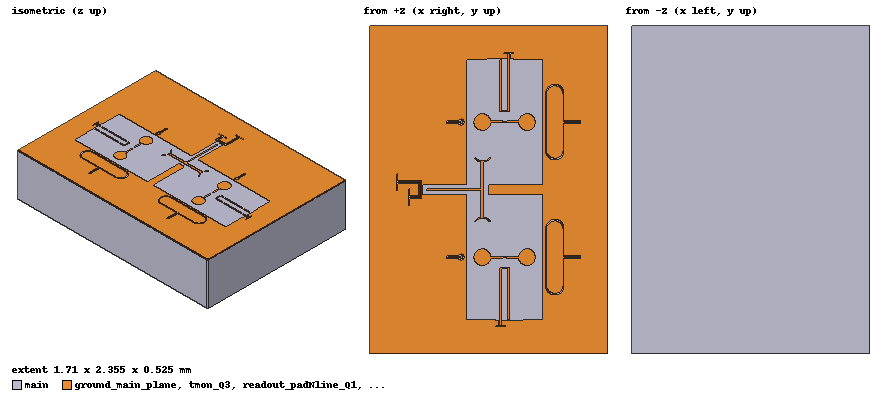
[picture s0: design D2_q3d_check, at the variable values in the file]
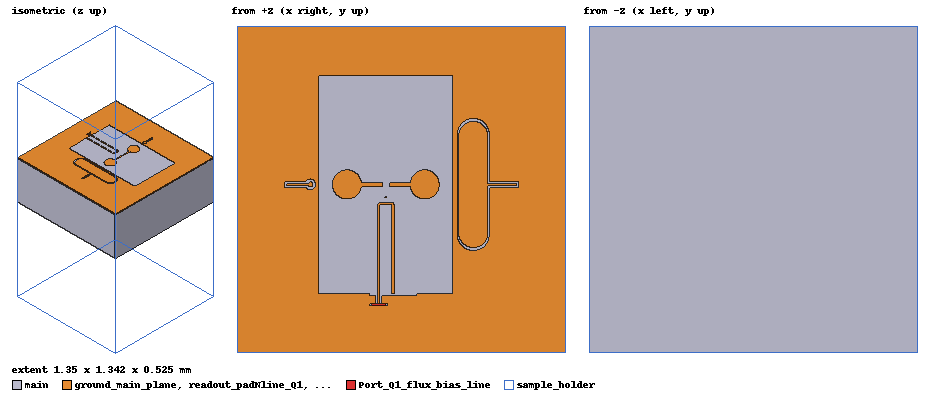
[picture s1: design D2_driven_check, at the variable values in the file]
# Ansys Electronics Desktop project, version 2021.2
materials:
  vacuum: permittivity=1
  copper: permeability=0.999991 conductivity=58000000
  silicon: permittivity=11.9
  pec: conductivity=1e+30

design D2_q3d_check (Q3D Extractor, model units mm)
options: SParamCalcMethod=EqTransLine Calculate_Lossy_Dielectrics
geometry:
  pad_top_Q1 [copper] = polyline(z=0, xy: (-0.002299, -0.002271) (-0.002299, -0.002269) (-0.002285, -0.002269) (-0.002285, -0.0022625) (-0.0021994709, -0.0022625) (-0.0021988471, -0.0022582946) (-0.0021974164, -0.0022525829) (-0.0021954328, -0.002247039) (-0.0021929153, -0.0022417162) (-0.0021898882, -0.0022366658) (-0.0021863806, -0.0022319364) (-0.0021824264, -0.0022275736) (-0.0021780636, -0.0022236194) (-0.0021733342, -0.0022201118) (-0.0021682838, -0.0022170847) (-0.002162961, -0.0022145672) (-0.0021574171, -0.0022125836) (-0.0021517054, -0.0022111529) (-0.002145881, -0.0022102889) (-0.00214, -0.00221) (-0.002134119, -0.0022102889) (-0.0021282946, -0.0022111529) (-0.0021225829, -0.0022125836) (-0.002117039, -0.0022145672) (-0.0021117162, -0.0022170847) (-0.0021066658, -0.0022201118) (-0.0021019364, -0.0022236194) (-0.0020975736, -0.0022275736) (-0.0020936194, -0.0022319364) (-0.0020901118, -0.0022366658) (-0.0020870847, -0.0022417162) (-0.0020845672, -0.002247039) (-0.0020825836, -0.0022525829) (-0.0020811529, -0.0022582946) (-0.0020802889, -0.002264119) (-0.00208, -0.00227) (-0.0020802889, -0.002275881) (-0.0020811529, -0.0022817054) (-0.0020825836, -0.0022874171) (-0.0020845672, -0.002292961) (-0.0020870847, -0.0022982838) (-0.0020901118, -0.0023033342) (-0.0020936194, -0.0023080636) (-0.0020975736, -0.0023124264) (-0.0021019364, -0.0023163806) (-0.0021066658, -0.0023198882) (-0.0021117162, -0.0023229153) (-0.002117039, -0.0023254328) (-0.0021225829, -0.0023274164) (-0.0021282946, -0.0023288471) (-0.002134119, -0.0023297111) (-0.00214, -0.00233) (-0.002145881, -0.0023297111) (-0.0021517054, -0.0023288471) (-0.0021574171, -0.0023274164) (-0.002162961, -0.0023254328) (-0.0021682838, -0.0023229153) (-0.0021733342, -0.0023198882) (-0.0021780636, -0.0023163806) (-0.0021824264, -0.0023124264) (-0.0021863806, -0.0023080636) (-0.0021898882, -0.0023033342) (-0.0021929153, -0.0022982838) (-0.0021954328, -0.002292961) (-0.0021974164, -0.0022874171) (-0.0021988471, -0.0022817054) (-0.0021994709, -0.0022775) (-0.002285, -0.0022775) (-0.002285, -0.002271) (-0.002299, -0.002271), closed, covered)
  pad_bot_Q1 [copper] = polyline(z=0, xy: (-0.002465881, -0.0023297111) (-0.0024717054, -0.0023288471) (-0.0024774171, -0.0023274164) (-0.002482961, -0.0023254328) (-0.0024882838, -0.0023229153) (-0.0024933342, -0.0023198882) (-0.0024980636, -0.0023163806) (-0.0025024264, -0.0023124264) (-0.0025063806, -0.0023080636) (-0.0025098882, -0.0023033342) (-0.0025129153, -0.0022982838) (-0.0025154328, -0.002292961) (-0.0025174164, -0.0022874171) (-0.0025188471, -0.0022817054) (-0.0025197111, -0.002275881) (-0.00252, -0.00227) (-0.0025197111, -0.002264119) (-0.0025188471, -0.0022582946) (-0.0025174164, -0.0022525829) (-0.0025154328, -0.002247039) (-0.0025129153, -0.0022417162) (-0.0025098882, -0.0022366658) (-0.0025063806, -0.0022319364) (-0.0025024264, -0.0022275736) (-0.0024980636, -0.0022236194) (-0.0024933342, -0.0022201118) (-0.0024882838, -0.0022170847) (-0.002482961, -0.0022145672) (-0.0024774171, -0.0022125836) (-0.0024717054, -0.0022111529) (-0.002465881, -0.0022102889) (-0.00246, -0.00221) (-0.002454119, -0.0022102889) (-0.0024482946, -0.0022111529) (-0.0024425829, -0.0022125836) (-0.002437039, -0.0022145672) (-0.0024317162, -0.0022170847) (-0.0024266658, -0.0022201118) (-0.0024219364, -0.0022236194) (-0.0024175736, -0.0022275736) (-0.0024136194, -0.0022319364) (-0.0024101118, -0.0022366658) (-0.0024070847, -0.0022417162) (-0.0024045672, -0.002247039) (-0.0024025836, -0.0022525829) (-0.0024011529, -0.0022582946) (-0.0024005291, -0.0022625) (-0.002315, -0.0022625) (-0.002315, -0.002269) (-0.002301, -0.002269) (-0.002301, -0.002271) (-0.002315, -0.002271) (-0.002315, -0.0022775) (-0.0024005291, -0.0022775) (-0.0024011529, -0.0022817054) (-0.0024025836, -0.0022874171) (-0.0024045672, -0.002292961) (-0.0024070847, -0.0022982838) (-0.0024101118, -0.0023033342) (-0.0024136194, -0.0023080636) (-0.0024175736, -0.0023124264) (-0.0024219364, -0.0023163806) (-0.0024266658, -0.0023198882) (-0.0024317162, -0.0023229153) (-0.002437039, -0.0023254328) (-0.0024425829, -0.0023274164) (-0.0024482946, -0.0023288471) (-0.002454119, -0.0023297111) (-0.00246, -0.00233) (-0.002465881, -0.0023297111), closed, covered)
  rect_pk_Q1 = rectangle(corner=(-0.002575, -0.00272, 0), x_size=0.00055, y_size=0.0009)
  array_end_Q1 [copper] = rectangle(corner=(-0.002305, -0.002324, 0), x_size=1e-05, y_size=2e-06)
  flux_bias_line_Q1 [copper] = polyline(z=0, xy: (-0.0023348079, -0.0023530491) (-0.0023345694, -0.0023520972) (-0.0023342388, -0.0023511732) (-0.0023338192, -0.002350286) (-0.0023333147, -0.0023494443) (-0.0023327301, -0.0023486561) (-0.0023320711, -0.0023479289) (-0.0023313439, -0.0023472699) (-0.0023305557, -0.0023466853) (-0.002329714, -0.0023461808) (-0.0023288268, -0.0023457612) (-0.0023279028, -0.0023454306) (-0.0023269509, -0.0023451921) (-0.0023259802, -0.0023450482) (-0.002325, -0.002345) (-0.002275, -0.002345) (-0.0022740198, -0.0023450482) (-0.0022730491, -0.0023451921) (-0.0022720972, -0.0023454306) (-0.0022711732, -0.0023457612) (-0.002270286, -0.0023461808) (-0.0022694443, -0.0023466853) (-0.0022686561, -0.0023472699) (-0.0022679289, -0.0023479289) (-0.0022672699, -0.0023486561) (-0.0022666853, -0.0023494443) (-0.0022661808, -0.002350286) (-0.0022657612, -0.0023511732) (-0.0022654306, -0.0023520972) (-0.0022651921, -0.0023530491) (-0.0022650482, -0.0023540198) (-0.002265, -0.002355) (-0.002265, -0.00272) (-0.002275, -0.00272) (-0.002275, -0.002355) (-0.002325, -0.002355) (-0.002325, -0.002365) (-0.002325, -0.0027625) (-0.002335, -0.0027625) (-0.002335, -0.002355) (-0.0023349518, -0.0023540198) (-0.0023348079, -0.0023530491), closed, covered)
  flux_bias_line_gap_Q1 = rectangle(corner=(-0.002341, -0.0027625, 0), x_size=2.2e-05, y_size=4.25e-05)
  charge_line_Q1 [copper] = polyline(z=0, xy: (-0.00271, -0.002265) (-0.00271, -0.002275) (-0.0026186478, -0.002275) (-0.0026183147, -0.0022755557) (-0.0026177301, -0.0022763439) (-0.0026170711, -0.0022770711) (-0.0026163439, -0.0022777301) (-0.0026155557, -0.0022783147) (-0.002614714, -0.0022788192) (-0.0026138268, -0.0022792388) (-0.0026129028, -0.0022795694) (-0.0026119509, -0.0022798079) (-0.0026109802, -0.0022799518) (-0.00261, -0.00228) (-0.0026090198, -0.0022799518) (-0.0026080491, -0.0022798079) (-0.0026070972, -0.0022795694) (-0.0026061732, -0.0022792388) (-0.002605286, -0.0022788192) (-0.0026044443, -0.0022783147) (-0.0026036561, -0.0022777301) (-0.0026029289, -0.0022770711) (-0.0026022699, -0.0022763439) (-0.0026016853, -0.0022755557) (-0.0026011808, -0.002274714) (-0.0026007612, -0.0022738268) (-0.0026004306, -0.0022729028) (-0.0026001921, -0.0022719509) (-0.0026000482, -0.0022709802) (-0.0026, -0.00227) (-0.0026000482, -0.0022690198) (-0.0026001921, -0.0022680491) (-0.0026004306, -0.0022670972) (-0.0026007612, -0.0022661732) (-0.0026011808, -0.002265286) (-0.0026016853, -0.0022644443) (-0.0026022699, -0.0022636561) (-0.0026029289, -0.0022629289) (-0.0026036561, -0.0022622699) (-0.0026044443, -0.0022616853) (-0.002605286, -0.0022611808) (-0.0026061732, -0.0022607612) (-0.0026070972, -0.0022604306) (-0.0026080491, -0.0022601921) (-0.0026090198, -0.0022600482) (-0.00261, -0.00226) (-0.0026109802, -0.0022600482) (-0.0026119509, -0.0022601921) (-0.0026129028, -0.0022604306) (-0.0026138268, -0.0022607612) (-0.002614714, -0.0022611808) (-0.0026155557, -0.0022616853) (-0.0026163439, -0.0022622699) (-0.0026170711, -0.0022629289) (-0.0026177301, -0.0022636561) (-0.0026183147, -0.0022644443) (-0.0026186478, -0.002265) (-0.00271, -0.002265), closed, covered)
  charge_line_gap_Q1 = polyline(z=0, xy: (-0.00271, -0.002259) (-0.00271, -0.002281) (-0.0026308433, -0.002281) (-0.0026301105, -0.0022822225) (-0.0026288244, -0.0022839567) (-0.0026273745, -0.0022855563) (-0.0026257748, -0.0022870062) (-0.0026240407, -0.0022882923) (-0.0026221889, -0.0022894023) (-0.0026202372, -0.0022903254) (-0.0026182044, -0.0022910527) (-0.0026161102, -0.0022915773) (-0.0026139746, -0.0022918941) (-0.0026118182, -0.002292) (-0.0026096618, -0.0022918941) (-0.0026075262, -0.0022915773) (-0.0026054319, -0.0022910527) (-0.0026033991, -0.0022903254) (-0.0026014475, -0.0022894023) (-0.0025995956, -0.0022882923) (-0.0025978615, -0.0022870062) (-0.0025962618, -0.0022855563) (-0.002594812, -0.0022839567) (-0.0025935258, -0.0022822225) (-0.0025924159, -0.0022803707) (-0.0025914928, -0.002278419) (-0.0025907655, -0.0022763863) (-0.0025902409, -0.002274292) (-0.0025899241, -0.0022721564) (-0.0025898182, -0.00227) (-0.0025899241, -0.0022678436) (-0.0025902409, -0.002265708) (-0.0025907655, -0.0022636137) (-0.0025914928, -0.002261581) (-0.0025924159, -0.0022596293) (-0.0025935258, -0.0022577775) (-0.002594812, -0.0022560433) (-0.0025962618, -0.0022544437) (-0.0025978615, -0.0022529938) (-0.0025995956, -0.0022517077) (-0.0026014475, -0.0022505977) (-0.0026033991, -0.0022496747) (-0.0026054319, -0.0022489473) (-0.0026075262, -0.0022484227) (-0.0026096618, -0.0022481059) (-0.0026118182, -0.002248) (-0.0026139746, -0.0022481059) (-0.0026161102, -0.0022484227) (-0.0026182044, -0.0022489473) (-0.0026202372, -0.0022496747) (-0.0026221889, -0.0022505977) (-0.0026240407, -0.0022517077) (-0.0026257748, -0.0022529938) (-0.0026273745, -0.0022544437) (-0.0026288244, -0.0022560433) (-0.0026301105, -0.0022577775) (-0.0026308433, -0.002259) (-0.00271, -0.002259), closed, covered)
  readout_padNline_Q1 [copper] = polyline(z=0, xy: (-0.0019988471, -0.0020582946) (-0.0019974164, -0.0020525829) (-0.0019954328, -0.002047039) (-0.0019929153, -0.0020417162) (-0.0019898882, -0.0020366658) (-0.0019863806, -0.0020319364) (-0.0019824264, -0.0020275736) (-0.0019780636, -0.0020236194) (-0.0019733342, -0.0020201118) (-0.0019682838, -0.0020170847) (-0.001962961, -0.0020145672) (-0.0019574171, -0.0020125836) (-0.0019517054, -0.0020111529) (-0.001945881, -0.0020102889) (-0.00194, -0.00201) (-0.001934119, -0.0020102889) (-0.0019282946, -0.0020111529) (-0.0019225829, -0.0020125836) (-0.001917039, -0.0020145672) (-0.0019117162, -0.0020170847) (-0.0019066658, -0.0020201118) (-0.0019019364, -0.0020236194) (-0.0018975736, -0.0020275736) (-0.0018936194, -0.0020319364) (-0.0018901118, -0.0020366658) (-0.0018870847, -0.0020417162) (-0.0018845672, -0.002047039) (-0.0018825836, -0.0020525829) (-0.0018811529, -0.0020582946) (-0.0018802889, -0.002064119) (-0.00188, -0.00207) (-0.00188, -0.002265) (-0.00176, -0.002265) (-0.00176, -0.002275) (-0.00188, -0.002275) (-0.00188, -0.00247) (-0.0018802889, -0.002475881) (-0.0018811529, -0.0024817054) (-0.0018825836, -0.0024874171) (-0.0018845672, -0.002492961) (-0.0018870847, -0.0024982838) (-0.0018901118, -0.0025033342) (-0.0018936194, -0.0025080636) (-0.0018975736, -0.0025124264) (-0.0019019364, -0.0025163806) (-0.0019066658, -0.0025198882) (-0.0019117162, -0.0025229153) (-0.001917039, -0.0025254328) (-0.0019225829, -0.0025274164) (-0.0019282946, -0.0025288471) (-0.001934119, -0.0025297111) (-0.00194, -0.00253) (-0.001945881, -0.0025297111) (-0.0019517054, -0.0025288471) (-0.0019574171, -0.0025274164) (-0.001962961, -0.0025254328) (-0.0019682838, -0.0025229153) (-0.0019733342, -0.0025198882) (-0.0019780636, -0.0025163806) (-0.0019824264, -0.0025124264) (-0.0019863806, -0.0025080636) (-0.0019898882, -0.0025033342) (-0.0019929153, -0.0024982838) (-0.0019954328, -0.002492961) (-0.0019974164, -0.0024874171) (-0.0019988471, -0.0024817054) (-0.0019997111, -0.002475881) (-0.002, -0.00247) (-0.002, -0.00207) (-0.0019997111, -0.002064119) (-0.0019988471, -0.0020582946), closed, covered)
  readout_padNline_gap_Q1 = polyline(z=0, xy: (-0.0020047318, -0.002051124) (-0.0020031581, -0.0020448412) (-0.002000976, -0.0020387429) (-0.0019982068, -0.0020328878) (-0.001994877, -0.0020273324) (-0.0019910187, -0.00202213) (-0.001986669, -0.002017331) (-0.00198187, -0.0020129813) (-0.0019766676, -0.002009123) (-0.0019711122, -0.0020057932) (-0.0019652571, -0.002003024) (-0.0019591588, -0.0020008419) (-0.001952876, -0.0019992682) (-0.0019464691, -0.0019983178) (-0.00194, -0.001998) (-0.0019335309, -0.0019983178) (-0.001927124, -0.0019992682) (-0.0019208412, -0.0020008419) (-0.0019147429, -0.002003024) (-0.0019088878, -0.0020057932) (-0.0019033324, -0.002009123) (-0.00189813, -0.0020129813) (-0.001893331, -0.002017331) (-0.0018889813, -0.00202213) (-0.001885123, -0.0020273324) (-0.0018817932, -0.0020328878) (-0.001879024, -0.0020387429) (-0.0018768419, -0.0020448412) (-0.0018752682, -0.002051124) (-0.0018743178, -0.0020575309) (-0.001874, -0.002064) (-0.001874, -0.002259) (-0.00176, -0.002259) (-0.00176, -0.002281) (-0.001874, -0.002281) (-0.001874, -0.002476) (-0.0018743178, -0.0024824691) (-0.0018752682, -0.002488876) (-0.0018768419, -0.0024951588) (-0.001879024, -0.0025012571) (-0.0018817932, -0.0025071122) (-0.001885123, -0.0025126676) (-0.0018889813, -0.00251787) (-0.001893331, -0.002522669) (-0.00189813, -0.0025270187) (-0.0019033324, -0.002530877) (-0.0019088878, -0.0025342068) (-0.0019147429, -0.002536976) (-0.0019208412, -0.0025391581) (-0.001927124, -0.0025407318) (-0.0019335309, -0.0025416822) (-0.00194, -0.002542) (-0.0019464691, -0.0025416822) (-0.001952876, -0.0025407318) (-0.0019591588, -0.0025391581) (-0.0019652571, -0.002536976) (-0.0019711122, -0.0025342068) (-0.0019766676, -0.002530877) (-0.00198187, -0.0025270187) (-0.001986669, -0.002522669) (-0.0019910187, -0.00251787) (-0.001994877, -0.0025126676) (-0.0019982068, -0.0025071122) (-0.002000976, -0.0025012571) (-0.0020031581, -0.0024951588) (-0.0020047318, -0.002488876) (-0.0020056822, -0.0024824691) (-0.002006, -0.002476) (-0.002006, -0.002064) (-0.0020056822, -0.0020575309) (-0.0020047318, -0.002051124), closed, covered)
  pad_top_Q2 [copper] = polyline(z=0, xy: (-0.002301, -0.001299) (-0.002301, -0.001301) (-0.002315, -0.001301) (-0.002315, -0.0013075) (-0.0024005291, -0.0013075) (-0.0024011529, -0.0013117054) (-0.0024025836, -0.0013174171) (-0.0024045672, -0.001322961) (-0.0024070847, -0.0013282838) (-0.0024101118, -0.0013333342) (-0.0024136194, -0.0013380636) (-0.0024175736, -0.0013424264) (-0.0024219364, -0.0013463806) (-0.0024266658, -0.0013498882) (-0.0024317162, -0.0013529153) (-0.002437039, -0.0013554328) (-0.0024425829, -0.0013574164) (-0.0024482946, -0.0013588471) (-0.002454119, -0.0013597111) (-0.00246, -0.00136) (-0.002465881, -0.0013597111) (-0.0024717054, -0.0013588471) (-0.0024774171, -0.0013574164) (-0.002482961, -0.0013554328) (-0.0024882838, -0.0013529153) (-0.0024933342, -0.0013498882) (-0.0024980636, -0.0013463806) (-0.0025024264, -0.0013424264) (-0.0025063806, -0.0013380636) (-0.0025098882, -0.0013333342) (-0.0025129153, -0.0013282838) (-0.0025154328, -0.001322961) (-0.0025174164, -0.0013174171) (-0.0025188471, -0.0013117054) (-0.0025197111, -0.001305881) (-0.00252, -0.0013) (-0.0025197111, -0.001294119) (-0.0025188471, -0.0012882946) (-0.0025174164, -0.0012825829) (-0.0025154328, -0.001277039) (-0.0025129153, -0.0012717162) (-0.0025098882, -0.0012666658) (-0.0025063806, -0.0012619364) (-0.0025024264, -0.0012575736) (-0.0024980636, -0.0012536194) (-0.0024933342, -0.0012501118) (-0.0024882838, -0.0012470847) (-0.002482961, -0.0012445672) (-0.0024774171, -0.0012425836) (-0.0024717054, -0.0012411529) (-0.002465881, -0.0012402889) (-0.00246, -0.00124) (-0.002454119, -0.0012402889) (-0.0024482946, -0.0012411529) (-0.0024425829, -0.0012425836) (-0.002437039, -0.0012445672) (-0.0024317162, -0.0012470847) (-0.0024266658, -0.0012501118) (-0.0024219364, -0.0012536194) (-0.0024175736, -0.0012575736) (-0.0024136194, -0.0012619364) (-0.0024101118, -0.0012666658) (-0.0024070847, -0.0012717162) (-0.0024045672, -0.001277039) (-0.0024025836, -0.0012825829) (-0.0024011529, -0.0012882946) (-0.0024005291, -0.0012925) (-0.002315, -0.0012925) (-0.002315, -0.001299) (-0.002301, -0.001299), closed, covered)
  pad_bot_Q2 [copper] = polyline(z=0, xy: (-0.002134119, -0.0012402889) (-0.0021282946, -0.0012411529) (-0.0021225829, -0.0012425836) (-0.002117039, -0.0012445672) (-0.0021117162, -0.0012470847) (-0.0021066658, -0.0012501118) (-0.0021019364, -0.0012536194) (-0.0020975736, -0.0012575736) (-0.0020936194, -0.0012619364) (-0.0020901118, -0.0012666658) (-0.0020870847, -0.0012717162) (-0.0020845672, -0.001277039) (-0.0020825836, -0.0012825829) (-0.0020811529, -0.0012882946) (-0.0020802889, -0.001294119) (-0.00208, -0.0013) (-0.0020802889, -0.001305881) (-0.0020811529, -0.0013117054) (-0.0020825836, -0.0013174171) (-0.0020845672, -0.001322961) (-0.0020870847, -0.0013282838) (-0.0020901118, -0.0013333342) (-0.0020936194, -0.0013380636) (-0.0020975736, -0.0013424264) (-0.0021019364, -0.0013463806) (-0.0021066658, -0.0013498882) (-0.0021117162, -0.0013529153) (-0.002117039, -0.0013554328) (-0.0021225829, -0.0013574164) (-0.0021282946, -0.0013588471) (-0.002134119, -0.0013597111) (-0.00214, -0.00136) (-0.002145881, -0.0013597111) (-0.0021517054, -0.0013588471) (-0.0021574171, -0.0013574164) (-0.002162961, -0.0013554328) (-0.0021682838, -0.0013529153) (-0.0021733342, -0.0013498882) (-0.0021780636, -0.0013463806) (-0.0021824264, -0.0013424264) (-0.0021863806, -0.0013380636) (-0.0021898882, -0.0013333342) (-0.0021929153, -0.0013282838) (-0.0021954328, -0.001322961) (-0.0021974164, -0.0013174171) (-0.0021988471, -0.0013117054) (-0.0021994709, -0.0013075) (-0.002285, -0.0013075) (-0.002285, -0.001301) (-0.002299, -0.001301) (-0.002299, -0.001299) (-0.002285, -0.001299) (-0.002285, -0.0012925) (-0.0021994709, -0.0012925) (-0.0021988471, -0.0012882946) (-0.0021974164, -0.0012825829) (-0.0021954328, -0.001277039) (-0.0021929153, -0.0012717162) (-0.0021898882, -0.0012666658) (-0.0021863806, -0.0012619364) (-0.0021824264, -0.0012575736) (-0.0021780636, -0.0012536194) (-0.0021733342, -0.0012501118) (-0.0021682838, -0.0012470847) (-0.002162961, -0.0012445672) (-0.0021574171, -0.0012425836) (-0.0021517054, -0.0012411529) (-0.002145881, -0.0012402889) (-0.00214, -0.00124) (-0.002134119, -0.0012402889), closed, covered)
  rect_pk_Q2 = rectangle(corner=(-0.002575, -0.00175, 0), x_size=0.00055, y_size=0.0009)
  array_end_Q2 [copper] = rectangle(corner=(-0.002305, -0.001248, 0), x_size=1e-05, y_size=2e-06)
  flux_bias_line_Q2 [copper] = polyline(z=0, xy: (-0.0022651921, -0.0012169509) (-0.0022654306, -0.0012179028) (-0.0022657612, -0.0012188268) (-0.0022661808, -0.001219714) (-0.0022666853, -0.0012205557) (-0.0022672699, -0.0012213439) (-0.0022679289, -0.0012220711) (-0.0022686561, -0.0012227301) (-0.0022694443, -0.0012233147) (-0.002270286, -0.0012238192) (-0.0022711732, -0.0012242388) (-0.0022720972, -0.0012245694) (-0.0022730491, -0.0012248079) (-0.0022740198, -0.0012249518) (-0.002275, -0.001225) (-0.002325, -0.001225) (-0.0023259802, -0.0012249518) (-0.0023269509, -0.0012248079) (-0.0023279028, -0.0012245694) (-0.0023288268, -0.0012242388) (-0.002329714, -0.0012238192) (-0.0023305557, -0.0012233147) (-0.0023313439, -0.0012227301) (-0.0023320711, -0.0012220711) (-0.0023327301, -0.0012213439) (-0.0023333147, -0.0012205557) (-0.0023338192, -0.001219714) (-0.0023342388, -0.0012188268) (-0.0023345694, -0.0012179028) (-0.0023348079, -0.0012169509) (-0.0023349518, -0.0012159802) (-0.002335, -0.001215) (-0.002335, -0.00085) (-0.002325, -0.00085) (-0.002325, -0.001215) (-0.002275, -0.001215) (-0.002275, -0.001205) (-0.002275, -0.0008075) (-0.002265, -0.0008075) (-0.002265, -0.001215) (-0.0022650482, -0.0012159802) (-0.0022651921, -0.0012169509), closed, covered)
  flux_bias_line_gap_Q2 = rectangle(corner=(-0.002281, -0.00085, 0), x_size=2.2e-05, y_size=4.25e-05)
  charge_line_Q2 [copper] = polyline(z=0, xy: (-0.00271, -0.001305) (-0.00271, -0.001295) (-0.0026186478, -0.001295) (-0.0026183147, -0.0012944443) (-0.0026177301, -0.0012936561) (-0.0026170711, -0.0012929289) (-0.0026163439, -0.0012922699) (-0.0026155557, -0.0012916853) (-0.002614714, -0.0012911808) (-0.0026138268, -0.0012907612) (-0.0026129028, -0.0012904306) (-0.0026119509, -0.0012901921) (-0.0026109802, -0.0012900482) (-0.00261, -0.00129) (-0.0026090198, -0.0012900482) (-0.0026080491, -0.0012901921) (-0.0026070972, -0.0012904306) (-0.0026061732, -0.0012907612) (-0.002605286, -0.0012911808) (-0.0026044443, -0.0012916853) (-0.0026036561, -0.0012922699) (-0.0026029289, -0.0012929289) (-0.0026022699, -0.0012936561) (-0.0026016853, -0.0012944443) (-0.0026011808, -0.001295286) (-0.0026007612, -0.0012961732) (-0.0026004306, -0.0012970972) (-0.0026001921, -0.0012980491) (-0.0026000482, -0.0012990198) (-0.0026, -0.0013) (-0.0026000482, -0.0013009802) (-0.0026001921, -0.0013019509) (-0.0026004306, -0.0013029028) (-0.0026007612, -0.0013038268) (-0.0026011808, -0.001304714) (-0.0026016853, -0.0013055557) (-0.0026022699, -0.0013063439) (-0.0026029289, -0.0013070711) (-0.0026036561, -0.0013077301) (-0.0026044443, -0.0013083147) (-0.002605286, -0.0013088192) (-0.0026061732, -0.0013092388) (-0.0026070972, -0.0013095694) (-0.0026080491, -0.0013098079) (-0.0026090198, -0.0013099518) (-0.00261, -0.00131) (-0.0026109802, -0.0013099518) (-0.0026119509, -0.0013098079) (-0.0026129028, -0.0013095694) (-0.0026138268, -0.0013092388) (-0.002614714, -0.0013088192) (-0.0026155557, -0.0013083147) (-0.0026163439, -0.0013077301) (-0.0026170711, -0.0013070711) (-0.0026177301, -0.0013063439) (-0.0026183147, -0.0013055557) (-0.0026186478, -0.001305) (-0.00271, -0.001305), closed, covered)
  charge_line_gap_Q2 = polyline(z=0, xy: (-0.00271, -0.001311) (-0.00271, -0.001289) (-0.0026308433, -0.001289) (-0.0026301105, -0.0012877775) (-0.0026288244, -0.0012860433) (-0.0026273745, -0.0012844437) (-0.0026257748, -0.0012829938) (-0.0026240407, -0.0012817077) (-0.0026221889, -0.0012805977) (-0.0026202372, -0.0012796746) (-0.0026182044, -0.0012789473) (-0.0026161102, -0.0012784227) (-0.0026139746, -0.0012781059) (-0.0026118182, -0.001278) (-0.0026096618, -0.0012781059) (-0.0026075262, -0.0012784227) (-0.0026054319, -0.0012789473) (-0.0026033991, -0.0012796746) (-0.0026014475, -0.0012805977) (-0.0025995956, -0.0012817077) (-0.0025978615, -0.0012829938) (-0.0025962618, -0.0012844437) (-0.002594812, -0.0012860433) (-0.0025935258, -0.0012877775) (-0.0025924159, -0.0012896293) (-0.0025914928, -0.001291581) (-0.0025907655, -0.0012936137) (-0.0025902409, -0.001295708) (-0.0025899241, -0.0012978436) (-0.0025898182, -0.0013) (-0.0025899241, -0.0013021564) (-0.0025902409, -0.001304292) (-0.0025907655, -0.0013063863) (-0.0025914928, -0.001308419) (-0.0025924159, -0.0013103707) (-0.0025935258, -0.0013122225) (-0.002594812, -0.0013139567) (-0.0025962618, -0.0013155563) (-0.0025978615, -0.0013170062) (-0.0025995956, -0.0013182923) (-0.0026014475, -0.0013194023) (-0.0026033991, -0.0013203253) (-0.0026054319, -0.0013210527) (-0.0026075262, -0.0013215773) (-0.0026096618, -0.0013218941) (-0.0026118182, -0.001322) (-0.0026139746, -0.0013218941) (-0.0026161102, -0.0013215773) (-0.0026182044, -0.0013210527) (-0.0026202372, -0.0013203253) (-0.0026221889, -0.0013194023) (-0.0026240407, -0.0013182923) (-0.0026257748, -0.0013170062) (-0.0026273745, -0.0013155563) (-0.0026288244, -0.0013139567) (-0.0026301105, -0.0013122225) (-0.0026308433, -0.001311) (-0.00271, -0.001311), closed, covered)
  readout_padNline_Q2 [copper] = polyline(z=0, xy: (-0.0019988471, -0.0015117054) (-0.0019974164, -0.0015174171) (-0.0019954328, -0.001522961) (-0.0019929153, -0.0015282838) (-0.0019898882, -0.0015333342) (-0.0019863806, -0.0015380636) (-0.0019824264, -0.0015424264) (-0.0019780636, -0.0015463806) (-0.0019733342, -0.0015498882) (-0.0019682838, -0.0015529153) (-0.001962961, -0.0015554328) (-0.0019574171, -0.0015574164) (-0.0019517054, -0.0015588471) (-0.001945881, -0.0015597111) (-0.00194, -0.00156) (-0.001934119, -0.0015597111) (-0.0019282946, -0.0015588471) (-0.0019225829, -0.0015574164) (-0.001917039, -0.0015554328) (-0.0019117162, -0.0015529153) (-0.0019066658, -0.0015498882) (-0.0019019364, -0.0015463806) (-0.0018975736, -0.0015424264) (-0.0018936194, -0.0015380636) (-0.0018901118, -0.0015333342) (-0.0018870847, -0.0015282838) (-0.0018845672, -0.001522961) (-0.0018825836, -0.0015174171) (-0.0018811529, -0.0015117054) (-0.0018802889, -0.001505881) (-0.00188, -0.0015) (-0.00188, -0.001305) (-0.00176, -0.001305) (-0.00176, -0.001295) (-0.00188, -0.001295) (-0.00188, -0.0011) (-0.0018802889, -0.001094119) (-0.0018811529, -0.0010882946) (-0.0018825836, -0.0010825829) (-0.0018845672, -0.001077039) (-0.0018870847, -0.0010717162) (-0.0018901118, -0.0010666658) (-0.0018936194, -0.0010619364) (-0.0018975736, -0.0010575736) (-0.0019019364, -0.0010536194) (-0.0019066658, -0.0010501118) (-0.0019117162, -0.0010470847) (-0.001917039, -0.0010445672) (-0.0019225829, -0.0010425836) (-0.0019282946, -0.0010411529) (-0.001934119, -0.0010402889) (-0.00194, -0.00104) (-0.001945881, -0.0010402889) (-0.0019517054, -0.0010411529) (-0.0019574171, -0.0010425836) (-0.001962961, -0.0010445672) (-0.0019682838, -0.0010470847) (-0.0019733342, -0.0010501118) (-0.0019780636, -0.0010536194) (-0.0019824264, -0.0010575736) (-0.0019863806, -0.0010619364) (-0.0019898882, -0.0010666658) (-0.0019929153, -0.0010717162) (-0.0019954328, -0.001077039) (-0.0019974164, -0.0010825829) (-0.0019988471, -0.0010882946) (-0.0019997111, -0.001094119) (-0.002, -0.0011) (-0.002, -0.0015) (-0.0019997111, -0.001505881) (-0.0019988471, -0.0015117054), closed, covered)
  readout_padNline_gap_Q2 = polyline(z=0, xy: (-0.0020047318, -0.001518876) (-0.0020031581, -0.0015251588) (-0.002000976, -0.0015312571) (-0.0019982068, -0.0015371122) (-0.001994877, -0.0015426676) (-0.0019910187, -0.00154787) (-0.001986669, -0.001552669) (-0.00198187, -0.0015570187) (-0.0019766676, -0.001560877) (-0.0019711122, -0.0015642068) (-0.0019652571, -0.001566976) (-0.0019591588, -0.0015691581) (-0.001952876, -0.0015707318) (-0.0019464691, -0.0015716822) (-0.00194, -0.001572) (-0.0019335309, -0.0015716822) (-0.001927124, -0.0015707318) (-0.0019208412, -0.0015691581) (-0.0019147429, -0.001566976) (-0.0019088878, -0.0015642068) (-0.0019033324, -0.001560877) (-0.00189813, -0.0015570187) (-0.001893331, -0.001552669) (-0.0018889813, -0.00154787) (-0.001885123, -0.0015426676) (-0.0018817932, -0.0015371122) (-0.001879024, -0.0015312571) (-0.0018768419, -0.0015251588) (-0.0018752682, -0.001518876) (-0.0018743178, -0.0015124691) (-0.001874, -0.001506) (-0.001874, -0.001311) (-0.00176, -0.001311) (-0.00176, -0.001289) (-0.001874, -0.001289) (-0.001874, -0.001094) (-0.0018743178, -0.0010875309) (-0.0018752682, -0.001081124) (-0.0018768419, -0.0010748412) (-0.001879024, -0.0010687429) (-0.0018817932, -0.0010628878) (-0.001885123, -0.0010573324) (-0.0018889813, -0.00105213) (-0.001893331, -0.001047331) (-0.00189813, -0.0010429813) (-0.0019033324, -0.001039123) (-0.0019088878, -0.0010357932) (-0.0019147429, -0.001033024) (-0.0019208412, -0.0010308419) (-0.001927124, -0.0010292682) (-0.0019335309, -0.0010283178) (-0.00194, -0.001028) (-0.0019464691, -0.0010283178) (-0.001952876, -0.0010292682) (-0.0019591588, -0.0010308419) (-0.0019652571, -0.001033024) (-0.0019711122, -0.0010357932) (-0.0019766676, -0.001039123) (-0.00198187, -0.0010429813) (-0.001986669, -0.001047331) (-0.0019910187, -0.00105213) (-0.001994877, -0.0010573324) (-0.0019982068, -0.0010628878) (-0.002000976, -0.0010687429) (-0.0020031581, -0.0010748412) (-0.0020047318, -0.001081124) (-0.0020056822, -0.0010875309) (-0.002006, -0.001094) (-0.002006, -0.001506) (-0.0020056822, -0.0015124691) (-0.0020047318, -0.001518876), closed, covered)
  tmon_Q3 [copper] = polyline(z=0, xy: (-0.0024328295, -0.0019874046) (-0.0024265308, -0.0019903836) (-0.0024205545, -0.0019939657) (-0.0024149581, -0.0019981163) (-0.0024097954, -0.0020027954) (-0.0024051163, -0.0020079581) (-0.0024009657, -0.0020135545) (-0.002400399, -0.0020145) (-0.0024102125, -0.0020145) (-0.0024113003, -0.0020130332) (-0.0024154523, -0.0020084523) (-0.0024200332, -0.0020043003) (-0.0024249991, -0.0020006174) (-0.002430302, -0.001997439) (-0.0024358909, -0.0019947956) (-0.0024417121, -0.0019927128) (-0.0024477093, -0.0019912105) (-0.0024538249, -0.0019903034) (-0.00246, -0.00199) (-0.0024661751, -0.0019903034) (-0.0024722907, -0.0019912105) (-0.0024782879, -0.0019927128) (-0.0024841091, -0.0019947956) (-0.002489698, -0.001997439) (-0.0024950009, -0.0020006174) (-0.0024999668, -0.0020043003) (-0.0025045477, -0.0020084523) (-0.0025086997, -0.0020130332) (-0.0025097875, -0.0020145) (-0.002519601, -0.0020145) (-0.0025190343, -0.0020135545) (-0.0025148837, -0.0020079581) (-0.0025102046, -0.0020027954) (-0.0025050419, -0.0019981163) (-0.0024994455, -0.0019939657) (-0.0024934692, -0.0019903836) (-0.0024871705, -0.0019874046) (-0.0024806102, -0.0019850572) (-0.0024738514, -0.0019833642) (-0.0024725, -0.0019831638) (-0.0024725, -0.0017925) (-0.00286, -0.0017925) (-0.00286, -0.0017775) (-0.0024725, -0.0017775) (-0.0024725, -0.0015868362) (-0.0024738514, -0.0015866358) (-0.0024806102, -0.0015849428) (-0.0024871705, -0.0015825954) (-0.0024934692, -0.0015796164) (-0.0024994455, -0.0015760343) (-0.0025050419, -0.0015718837) (-0.0025102046, -0.0015672046) (-0.0025148837, -0.0015620419) (-0.0025190343, -0.0015564455) (-0.002519601, -0.0015555) (-0.0025097875, -0.0015555) (-0.0025086997, -0.0015569668) (-0.0025045477, -0.0015615477) (-0.0024999668, -0.0015656997) (-0.0024950009, -0.0015693826) (-0.002489698, -0.001572561) (-0.0024841091, -0.0015752044) (-0.0024782879, -0.0015772872) (-0.0024722907, -0.0015787895) (-0.0024661751, -0.0015796966) (-0.00246, -0.00158) (-0.0024538249, -0.0015796966) (-0.0024477093, -0.0015787895) (-0.0024417121, -0.0015772872) (-0.0024358909, -0.0015752044) (-0.002430302, -0.001572561) (-0.0024249991, -0.0015693826) (-0.0024200332, -0.0015656997) (-0.0024154523, -0.0015615477) (-0.0024113003, -0.0015569668) (-0.0024102125, -0.0015555) (-0.002400399, -0.0015555) (-0.0024009657, -0.0015564455) (-0.0024051163, -0.0015620419) (-0.0024097954, -0.0015672046) (-0.0024149581, -0.0015718837) (-0.0024205545, -0.0015760343) (-0.0024265308, -0.0015796164) (-0.0024328295, -0.0015825954) (-0.0024393898, -0.0015849428) (-0.0024461486, -0.0015866358) (-0.0024475, -0.0015868362) (-0.0024475, -0.0019831638) (-0.0024461486, -0.0019833642) (-0.0024393898, -0.0019850572) (-0.0024328295, -0.0019874046), closed, covered)
  pad_etch_Q3 = polyline(z=0, xy: (-0.0024094431, -0.0019773363) (-0.0024022702, -0.001982656) (-0.0023956533, -0.0019886533) (-0.002389656, -0.0019952702) (-0.0023843363, -0.0020024431) (-0.0023797452, -0.0020101029) (-0.002375927, -0.0020181758) (-0.0023729184, -0.0020265841) (-0.0023709356, -0.0020345) (-0.0024212402, -0.0020345) (-0.0024220774, -0.0020327299) (-0.0024242468, -0.0020291105) (-0.0024267606, -0.0020257211) (-0.0024295944, -0.0020225944) (-0.0024327211, -0.0020197606) (-0.0024361105, -0.0020172468) (-0.0024397299, -0.0020150774) (-0.0024435446, -0.0020132732) (-0.0024475178, -0.0020118516) (-0.0024516111, -0.0020108262) (-0.0024557853, -0.0020102071) (-0.00246, -0.00201) (-0.0024642147, -0.0020102071) (-0.0024683889, -0.0020108262) (-0.0024724822, -0.0020118516) (-0.0024764554, -0.0020132732) (-0.0024802701, -0.0020150774) (-0.0024838895, -0.0020172468) (-0.0024872789, -0.0020197606) (-0.0024904056, -0.0020225944) (-0.0024932394, -0.0020257211) (-0.0024957532, -0.0020291105) (-0.0024979226, -0.0020327299) (-0.0024987598, -0.0020345) (-0.0025490644, -0.0020345) (-0.0025470816, -0.0020265841) (-0.002544073, -0.0020181758) (-0.0025402548, -0.0020101029) (-0.0025356637, -0.0020024431) (-0.002530344, -0.0019952702) (-0.0025243467, -0.0019886533) (-0.0025177298, -0.001982656) (-0.0025105569, -0.0019773363) (-0.0025028971, -0.0019727452) (-0.0025025, -0.0019725573) (-0.0025025, -0.0018225) (-0.00289, -0.0018225) (-0.00289, -0.0017475) (-0.0025025, -0.0017475) (-0.0025025, -0.0015974427) (-0.0025028971, -0.0015972548) (-0.0025105569, -0.0015926637) (-0.0025177298, -0.001587344) (-0.0025243467, -0.0015813467) (-0.002530344, -0.0015747298) (-0.0025356637, -0.0015675569) (-0.0025402548, -0.0015598971) (-0.002544073, -0.0015518242) (-0.0025470816, -0.0015434159) (-0.0025490644, -0.0015355) (-0.0024987598, -0.0015355) (-0.0024979226, -0.0015372701) (-0.0024957532, -0.0015408895) (-0.0024932394, -0.0015442789) (-0.0024904056, -0.0015474056) (-0.0024872789, -0.0015502394) (-0.0024838895, -0.0015527532) (-0.0024802701, -0.0015549226) (-0.0024764554, -0.0015567268) (-0.0024724822, -0.0015581484) (-0.0024683889, -0.0015591738) (-0.0024642147, -0.0015597929) (-0.00246, -0.00156) (-0.0024557853, -0.0015597929) (-0.0024516111, -0.0015591738) (-0.0024475178, -0.0015581484) (-0.0024435446, -0.0015567268) (-0.0024397299, -0.0015549226) (-0.0024361105, -0.0015527532) (-0.0024327211, -0.0015502394) (-0.0024295944, -0.0015474056) (-0.0024267606, -0.0015442789) (-0.0024242468, -0.0015408895) (-0.0024220774, -0.0015372701) (-0.0024212402, -0.0015355) (-0.0023709356, -0.0015355) (-0.0023729184, -0.0015434159) (-0.002375927, -0.0015518242) (-0.0023797452, -0.0015598971) (-0.0023843363, -0.0015675569) (-0.002389656, -0.0015747298) (-0.0023956533, -0.0015813467) (-0.0024022702, -0.001587344) (-0.0024094431, -0.0015926637) (-0.0024171029, -0.0015972548) (-0.0024175, -0.0015974427) (-0.0024175, -0.0019725573) (-0.0024171029, -0.0019727452) (-0.0024094431, -0.0019773363), closed, covered)
  flux_bias_line_Q3 [copper] = polyline(z=0, xy: (-0.00298, -0.001845) (-0.00298, -0.001835) (-0.00291, -0.001835) (-0.00291, -0.001735) (-0.00307, -0.001735) (-0.00307, -0.001725) (-0.0029, -0.001725) (-0.0029, -0.001845) (-0.00298, -0.001845), closed, covered)
  flux_bias_line_gap_Q3 = polyline(z=0, xy: (-0.00298, -0.001851) (-0.00298, -0.001829) (-0.002916, -0.001829) (-0.002916, -0.001741) (-0.00307, -0.001741) (-0.00307, -0.001719) (-0.002894, -0.001719) (-0.002894, -0.001851) (-0.00298, -0.001851), closed, covered)
  endcap_Q1_charge_line = rectangle(corner=(-0.002716, -0.002281, 0), x_size=6e-06, y_size=2.2e-05)
  endcap_Q1_flux_bias_line = rectangle(corner=(-0.002366, -0.0027685, 0), x_size=7.2e-05, y_size=6e-06)
  endcap_Q1_fake_flux_bias_line = rectangle(corner=(-0.002366, -0.002726, 0), x_size=0.000192, y_size=6e-06)
  endcap_Q1_readout_line = rectangle(corner=(-0.00176, -0.002281, 0), x_size=6e-06, y_size=2.2e-05)
  endcap_Q2_charge_line = rectangle(corner=(-0.002716, -0.001311, 0), x_size=6e-06, y_size=2.2e-05)
  endcap_Q2_flux_bias_line = rectangle(corner=(-0.002306, -0.0008075, 0), x_size=7.2e-05, y_size=6e-06)
  endcap_Q2_fake_flux_bias_line = rectangle(corner=(-0.002426, -0.00085, 0), x_size=0.000192, y_size=6e-06)
  endcap_Q2_readout_line = rectangle(corner=(-0.00176, -0.001311, 0), x_size=6e-06, y_size=2.2e-05)
  endcap_Q3_flux_bias_line = rectangle(corner=(-0.003076, -0.001791, 0), x_size=6e-06, y_size=0.000122)
  endcap_Q3_fake_flux_bias_line = rectangle(corner=(-0.002986, -0.001901, 0), x_size=6e-06, y_size=0.000122)
  ground_main_plane [copper] = rectangle(corner=(-0.00327, -0.0029625, 0), x_size=0.00171, y_size=0.002355)
  main [silicon] = box(corner=(-0.00327, -0.0029625, -0.000525), size=(0.00171, 0.002355, 0.000525))
  ground_main_plane.subtract(readout_padNline_gap_Q1, endcap_Q2_charge_line, endcap_Q2_fake_flux_bias_line, endcap_Q1_fake_flux_bias_line, endcap_Q3_fake_flux_bias_line, endcap_Q1_flux_bias_line, endcap_Q2_readout_line, flux_bias_line_gap_Q2, pad_etch_Q3, endcap_Q1_readout_line, flux_bias_line_gap_Q3, charge_line_gap_Q1, endcap_Q2_flux_bias_line, flux_bias_line_gap_Q1, readout_padNline_gap_Q2, endcap_Q3_flux_bias_line, rect_pk_Q1, charge_line_gap_Q2, endcap_Q1_charge_line, rect_pk_Q2)
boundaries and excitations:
  ThinCond1: ThinConductor Objects=[pad_top_Q1, pad_bot_Q1, array_end_Q1, flux_bias_line_Q1, charge_line_Q1, readout_padNline_Q1, pad_top_Q2, pad_bot_Q2, array_end_Q2, flux_bias_line_Q2, charge_line_Q2, readout_padNline_Q2, tmon_Q3, flux_bias_line_Q3, ground_main_plane] Material=pec Thickness=200nm
  pad_top_Q1: SignalNet Objects=pad_top_Q1
  pad_bot_Q1: SignalNet Objects=pad_bot_Q1
  array_end_Q1: SignalNet Objects=array_end_Q1
  flux_bias_line_Q1: SignalNet Objects=flux_bias_line_Q1
  charge_line_Q1: SignalNet Objects=charge_line_Q1
  readout_padNline_Q1: SignalNet Objects=readout_padNline_Q1
  pad_top_Q2: SignalNet Objects=pad_top_Q2
  pad_bot_Q2: SignalNet Objects=pad_bot_Q2
  array_end_Q2: SignalNet Objects=array_end_Q2
  flux_bias_line_Q2: SignalNet Objects=flux_bias_line_Q2
  charge_line_Q2: SignalNet Objects=charge_line_Q2
  readout_padNline_Q2: SignalNet Objects=readout_padNline_Q2
  tmon_Q3: SignalNet Objects=tmon_Q3
  flux_bias_line_Q3: SignalNet Objects=flux_bias_line_Q3
  ground_main_plane: SignalNet Objects=ground_main_plane
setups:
  Setup: Matrix AdaptiveFreq=5GHz Cap{MaxPass=15 MinPass=2 MinConvPass=2 PerError=0.5 PerRefine=30 AutoIncreaseSolutionOrder SolutionOrder=High Solver_Type=Iterative}
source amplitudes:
  array_end_Q1, array_end_Q2, charge_line_Q1, charge_line_Q2, flux_bias_line_Q1, flux_bias_line_Q2, flux_bias_line_Q3, ground_main_plane, pad_bot_Q1, pad_bot_Q2, pad_top_Q2, readout_padNline_Q1, readout_padNline_Q2, tmon_Q3: Cap 0V 0deg
  pad_top_Q1: Cap 1V 0deg

design D2_driven_check (HFSS, DrivenModal, model units mm)
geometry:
  pad_top_Q1 = polyline(z=0, xy: (-0.002299, -0.002271) (-0.002299, -0.002269) (-0.002285, -0.002269) (-0.002285, -0.0022625) (-0.0021994709, -0.0022625) (-0.0021988471, -0.0022582946) (-0.0021974164, -0.0022525829) (-0.0021954328, -0.002247039) (-0.0021929153, -0.0022417162) (-0.0021898882, -0.0022366658) (-0.0021863806, -0.0022319364) (-0.0021824264, -0.0022275736) (-0.0021780636, -0.0022236194) (-0.0021733342, -0.0022201118) (-0.0021682838, -0.0022170847) (-0.002162961, -0.0022145672) (-0.0021574171, -0.0022125836) (-0.0021517054, -0.0022111529) (-0.002145881, -0.0022102889) (-0.00214, -0.00221) (-0.002134119, -0.0022102889) (-0.0021282946, -0.0022111529) (-0.0021225829, -0.0022125836) (-0.002117039, -0.0022145672) (-0.0021117162, -0.0022170847) (-0.0021066658, -0.0022201118) (-0.0021019364, -0.0022236194) (-0.0020975736, -0.0022275736) (-0.0020936194, -0.0022319364) (-0.0020901118, -0.0022366658) (-0.0020870847, -0.0022417162) (-0.0020845672, -0.002247039) (-0.0020825836, -0.0022525829) (-0.0020811529, -0.0022582946) (-0.0020802889, -0.002264119) (-0.00208, -0.00227) (-0.0020802889, -0.002275881) (-0.0020811529, -0.0022817054) (-0.0020825836, -0.0022874171) (-0.0020845672, -0.002292961) (-0.0020870847, -0.0022982838) (-0.0020901118, -0.0023033342) (-0.0020936194, -0.0023080636) (-0.0020975736, -0.0023124264) (-0.0021019364, -0.0023163806) (-0.0021066658, -0.0023198882) (-0.0021117162, -0.0023229153) (-0.002117039, -0.0023254328) (-0.0021225829, -0.0023274164) (-0.0021282946, -0.0023288471) (-0.002134119, -0.0023297111) (-0.00214, -0.00233) (-0.002145881, -0.0023297111) (-0.0021517054, -0.0023288471) (-0.0021574171, -0.0023274164) (-0.002162961, -0.0023254328) (-0.0021682838, -0.0023229153) (-0.0021733342, -0.0023198882) (-0.0021780636, -0.0023163806) (-0.0021824264, -0.0023124264) (-0.0021863806, -0.0023080636) (-0.0021898882, -0.0023033342) (-0.0021929153, -0.0022982838) (-0.0021954328, -0.002292961) (-0.0021974164, -0.0022874171) (-0.0021988471, -0.0022817054) (-0.0021994709, -0.0022775) (-0.002285, -0.0022775) (-0.002285, -0.002271) (-0.002299, -0.002271), closed, covered)
  pad_bot_Q1 = polyline(z=0, xy: (-0.002465881, -0.0023297111) (-0.0024717054, -0.0023288471) (-0.0024774171, -0.0023274164) (-0.002482961, -0.0023254328) (-0.0024882838, -0.0023229153) (-0.0024933342, -0.0023198882) (-0.0024980636, -0.0023163806) (-0.0025024264, -0.0023124264) (-0.0025063806, -0.0023080636) (-0.0025098882, -0.0023033342) (-0.0025129153, -0.0022982838) (-0.0025154328, -0.002292961) (-0.0025174164, -0.0022874171) (-0.0025188471, -0.0022817054) (-0.0025197111, -0.002275881) (-0.00252, -0.00227) (-0.0025197111, -0.002264119) (-0.0025188471, -0.0022582946) (-0.0025174164, -0.0022525829) (-0.0025154328, -0.002247039) (-0.0025129153, -0.0022417162) (-0.0025098882, -0.0022366658) (-0.0025063806, -0.0022319364) (-0.0025024264, -0.0022275736) (-0.0024980636, -0.0022236194) (-0.0024933342, -0.0022201118) (-0.0024882838, -0.0022170847) (-0.002482961, -0.0022145672) (-0.0024774171, -0.0022125836) (-0.0024717054, -0.0022111529) (-0.002465881, -0.0022102889) (-0.00246, -0.00221) (-0.002454119, -0.0022102889) (-0.0024482946, -0.0022111529) (-0.0024425829, -0.0022125836) (-0.002437039, -0.0022145672) (-0.0024317162, -0.0022170847) (-0.0024266658, -0.0022201118) (-0.0024219364, -0.0022236194) (-0.0024175736, -0.0022275736) (-0.0024136194, -0.0022319364) (-0.0024101118, -0.0022366658) (-0.0024070847, -0.0022417162) (-0.0024045672, -0.002247039) (-0.0024025836, -0.0022525829) (-0.0024011529, -0.0022582946) (-0.0024005291, -0.0022625) (-0.002315, -0.0022625) (-0.002315, -0.002269) (-0.002301, -0.002269) (-0.002301, -0.002271) (-0.002315, -0.002271) (-0.002315, -0.0022775) (-0.0024005291, -0.0022775) (-0.0024011529, -0.0022817054) (-0.0024025836, -0.0022874171) (-0.0024045672, -0.002292961) (-0.0024070847, -0.0022982838) (-0.0024101118, -0.0023033342) (-0.0024136194, -0.0023080636) (-0.0024175736, -0.0023124264) (-0.0024219364, -0.0023163806) (-0.0024266658, -0.0023198882) (-0.0024317162, -0.0023229153) (-0.002437039, -0.0023254328) (-0.0024425829, -0.0023274164) (-0.0024482946, -0.0023288471) (-0.002454119, -0.0023297111) (-0.00246, -0.00233) (-0.002465881, -0.0023297111), closed, covered)
  rect_pk_Q1 = rectangle(corner=(-0.002575, -0.00272, 0), x_size=0.00055, y_size=0.0009)
  array_end_Q1 = rectangle(corner=(-0.002305, -0.002324, 0), x_size=1e-05, y_size=2e-06)
  flux_bias_line_Q1 = polyline(z=0, xy: (-0.0023348079, -0.0023530491) (-0.0023345694, -0.0023520972) (-0.0023342388, -0.0023511732) (-0.0023338192, -0.002350286) (-0.0023333147, -0.0023494443) (-0.0023327301, -0.0023486561) (-0.0023320711, -0.0023479289) (-0.0023313439, -0.0023472699) (-0.0023305557, -0.0023466853) (-0.002329714, -0.0023461808) (-0.0023288268, -0.0023457612) (-0.0023279028, -0.0023454306) (-0.0023269509, -0.0023451921) (-0.0023259802, -0.0023450482) (-0.002325, -0.002345) (-0.002275, -0.002345) (-0.0022740198, -0.0023450482) (-0.0022730491, -0.0023451921) (-0.0022720972, -0.0023454306) (-0.0022711732, -0.0023457612) (-0.002270286, -0.0023461808) (-0.0022694443, -0.0023466853) (-0.0022686561, -0.0023472699) (-0.0022679289, -0.0023479289) (-0.0022672699, -0.0023486561) (-0.0022666853, -0.0023494443) (-0.0022661808, -0.002350286) (-0.0022657612, -0.0023511732) (-0.0022654306, -0.0023520972) (-0.0022651921, -0.0023530491) (-0.0022650482, -0.0023540198) (-0.002265, -0.002355) (-0.002265, -0.00272) (-0.002275, -0.00272) (-0.002275, -0.002355) (-0.002325, -0.002355) (-0.002325, -0.002365) (-0.002325, -0.0027625) (-0.002335, -0.0027625) (-0.002335, -0.002355) (-0.0023349518, -0.0023540198) (-0.0023348079, -0.0023530491), closed, covered)
  flux_bias_line_gap_Q1 = rectangle(corner=(-0.002341, -0.0027625, 0), x_size=2.2e-05, y_size=4.25e-05)
  charge_line_Q1 = polyline(z=0, xy: (-0.00271, -0.002265) (-0.00271, -0.002275) (-0.0026186478, -0.002275) (-0.0026183147, -0.0022755557) (-0.0026177301, -0.0022763439) (-0.0026170711, -0.0022770711) (-0.0026163439, -0.0022777301) (-0.0026155557, -0.0022783147) (-0.002614714, -0.0022788192) (-0.0026138268, -0.0022792388) (-0.0026129028, -0.0022795694) (-0.0026119509, -0.0022798079) (-0.0026109802, -0.0022799518) (-0.00261, -0.00228) (-0.0026090198, -0.0022799518) (-0.0026080491, -0.0022798079) (-0.0026070972, -0.0022795694) (-0.0026061732, -0.0022792388) (-0.002605286, -0.0022788192) (-0.0026044443, -0.0022783147) (-0.0026036561, -0.0022777301) (-0.0026029289, -0.0022770711) (-0.0026022699, -0.0022763439) (-0.0026016853, -0.0022755557) (-0.0026011808, -0.002274714) (-0.0026007612, -0.0022738268) (-0.0026004306, -0.0022729028) (-0.0026001921, -0.0022719509) (-0.0026000482, -0.0022709802) (-0.0026, -0.00227) (-0.0026000482, -0.0022690198) (-0.0026001921, -0.0022680491) (-0.0026004306, -0.0022670972) (-0.0026007612, -0.0022661732) (-0.0026011808, -0.002265286) (-0.0026016853, -0.0022644443) (-0.0026022699, -0.0022636561) (-0.0026029289, -0.0022629289) (-0.0026036561, -0.0022622699) (-0.0026044443, -0.0022616853) (-0.002605286, -0.0022611808) (-0.0026061732, -0.0022607612) (-0.0026070972, -0.0022604306) (-0.0026080491, -0.0022601921) (-0.0026090198, -0.0022600482) (-0.00261, -0.00226) (-0.0026109802, -0.0022600482) (-0.0026119509, -0.0022601921) (-0.0026129028, -0.0022604306) (-0.0026138268, -0.0022607612) (-0.002614714, -0.0022611808) (-0.0026155557, -0.0022616853) (-0.0026163439, -0.0022622699) (-0.0026170711, -0.0022629289) (-0.0026177301, -0.0022636561) (-0.0026183147, -0.0022644443) (-0.0026186478, -0.002265) (-0.00271, -0.002265), closed, covered)
  charge_line_gap_Q1 = polyline(z=0, xy: (-0.00271, -0.002259) (-0.00271, -0.002281) (-0.0026308433, -0.002281) (-0.0026301105, -0.0022822225) (-0.0026288244, -0.0022839567) (-0.0026273745, -0.0022855563) (-0.0026257748, -0.0022870062) (-0.0026240407, -0.0022882923) (-0.0026221889, -0.0022894023) (-0.0026202372, -0.0022903254) (-0.0026182044, -0.0022910527) (-0.0026161102, -0.0022915773) (-0.0026139746, -0.0022918941) (-0.0026118182, -0.002292) (-0.0026096618, -0.0022918941) (-0.0026075262, -0.0022915773) (-0.0026054319, -0.0022910527) (-0.0026033991, -0.0022903254) (-0.0026014475, -0.0022894023) (-0.0025995956, -0.0022882923) (-0.0025978615, -0.0022870062) (-0.0025962618, -0.0022855563) (-0.002594812, -0.0022839567) (-0.0025935258, -0.0022822225) (-0.0025924159, -0.0022803707) (-0.0025914928, -0.002278419) (-0.0025907655, -0.0022763863) (-0.0025902409, -0.002274292) (-0.0025899241, -0.0022721564) (-0.0025898182, -0.00227) (-0.0025899241, -0.0022678436) (-0.0025902409, -0.002265708) (-0.0025907655, -0.0022636137) (-0.0025914928, -0.002261581) (-0.0025924159, -0.0022596293) (-0.0025935258, -0.0022577775) (-0.002594812, -0.0022560433) (-0.0025962618, -0.0022544437) (-0.0025978615, -0.0022529938) (-0.0025995956, -0.0022517077) (-0.0026014475, -0.0022505977) (-0.0026033991, -0.0022496747) (-0.0026054319, -0.0022489473) (-0.0026075262, -0.0022484227) (-0.0026096618, -0.0022481059) (-0.0026118182, -0.002248) (-0.0026139746, -0.0022481059) (-0.0026161102, -0.0022484227) (-0.0026182044, -0.0022489473) (-0.0026202372, -0.0022496747) (-0.0026221889, -0.0022505977) (-0.0026240407, -0.0022517077) (-0.0026257748, -0.0022529938) (-0.0026273745, -0.0022544437) (-0.0026288244, -0.0022560433) (-0.0026301105, -0.0022577775) (-0.0026308433, -0.002259) (-0.00271, -0.002259), closed, covered)
  readout_padNline_Q1 = polyline(z=0, xy: (-0.0019988471, -0.0020582946) (-0.0019974164, -0.0020525829) (-0.0019954328, -0.002047039) (-0.0019929153, -0.0020417162) (-0.0019898882, -0.0020366658) (-0.0019863806, -0.0020319364) (-0.0019824264, -0.0020275736) (-0.0019780636, -0.0020236194) (-0.0019733342, -0.0020201118) (-0.0019682838, -0.0020170847) (-0.001962961, -0.0020145672) (-0.0019574171, -0.0020125836) (-0.0019517054, -0.0020111529) (-0.001945881, -0.0020102889) (-0.00194, -0.00201) (-0.001934119, -0.0020102889) (-0.0019282946, -0.0020111529) (-0.0019225829, -0.0020125836) (-0.001917039, -0.0020145672) (-0.0019117162, -0.0020170847) (-0.0019066658, -0.0020201118) (-0.0019019364, -0.0020236194) (-0.0018975736, -0.0020275736) (-0.0018936194, -0.0020319364) (-0.0018901118, -0.0020366658) (-0.0018870847, -0.0020417162) (-0.0018845672, -0.002047039) (-0.0018825836, -0.0020525829) (-0.0018811529, -0.0020582946) (-0.0018802889, -0.002064119) (-0.00188, -0.00207) (-0.00188, -0.002265) (-0.00176, -0.002265) (-0.00176, -0.002275) (-0.00188, -0.002275) (-0.00188, -0.00247) (-0.0018802889, -0.002475881) (-0.0018811529, -0.0024817054) (-0.0018825836, -0.0024874171) (-0.0018845672, -0.002492961) (-0.0018870847, -0.0024982838) (-0.0018901118, -0.0025033342) (-0.0018936194, -0.0025080636) (-0.0018975736, -0.0025124264) (-0.0019019364, -0.0025163806) (-0.0019066658, -0.0025198882) (-0.0019117162, -0.0025229153) (-0.001917039, -0.0025254328) (-0.0019225829, -0.0025274164) (-0.0019282946, -0.0025288471) (-0.001934119, -0.0025297111) (-0.00194, -0.00253) (-0.001945881, -0.0025297111) (-0.0019517054, -0.0025288471) (-0.0019574171, -0.0025274164) (-0.001962961, -0.0025254328) (-0.0019682838, -0.0025229153) (-0.0019733342, -0.0025198882) (-0.0019780636, -0.0025163806) (-0.0019824264, -0.0025124264) (-0.0019863806, -0.0025080636) (-0.0019898882, -0.0025033342) (-0.0019929153, -0.0024982838) (-0.0019954328, -0.002492961) (-0.0019974164, -0.0024874171) (-0.0019988471, -0.0024817054) (-0.0019997111, -0.002475881) (-0.002, -0.00247) (-0.002, -0.00207) (-0.0019997111, -0.002064119) (-0.0019988471, -0.0020582946), closed, covered)
  readout_padNline_gap_Q1 = polyline(z=0, xy: (-0.0020047318, -0.002051124) (-0.0020031581, -0.0020448412) (-0.002000976, -0.0020387429) (-0.0019982068, -0.0020328878) (-0.001994877, -0.0020273324) (-0.0019910187, -0.00202213) (-0.001986669, -0.002017331) (-0.00198187, -0.0020129813) (-0.0019766676, -0.002009123) (-0.0019711122, -0.0020057932) (-0.0019652571, -0.002003024) (-0.0019591588, -0.0020008419) (-0.001952876, -0.0019992682) (-0.0019464691, -0.0019983178) (-0.00194, -0.001998) (-0.0019335309, -0.0019983178) (-0.001927124, -0.0019992682) (-0.0019208412, -0.0020008419) (-0.0019147429, -0.002003024) (-0.0019088878, -0.0020057932) (-0.0019033324, -0.002009123) (-0.00189813, -0.0020129813) (-0.001893331, -0.002017331) (-0.0018889813, -0.00202213) (-0.001885123, -0.0020273324) (-0.0018817932, -0.0020328878) (-0.001879024, -0.0020387429) (-0.0018768419, -0.0020448412) (-0.0018752682, -0.002051124) (-0.0018743178, -0.0020575309) (-0.001874, -0.002064) (-0.001874, -0.002259) (-0.00176, -0.002259) (-0.00176, -0.002281) (-0.001874, -0.002281) (-0.001874, -0.002476) (-0.0018743178, -0.0024824691) (-0.0018752682, -0.002488876) (-0.0018768419, -0.0024951588) (-0.001879024, -0.0025012571) (-0.0018817932, -0.0025071122) (-0.001885123, -0.0025126676) (-0.0018889813, -0.00251787) (-0.001893331, -0.002522669) (-0.00189813, -0.0025270187) (-0.0019033324, -0.002530877) (-0.0019088878, -0.0025342068) (-0.0019147429, -0.002536976) (-0.0019208412, -0.0025391581) (-0.001927124, -0.0025407318) (-0.0019335309, -0.0025416822) (-0.00194, -0.002542) (-0.0019464691, -0.0025416822) (-0.001952876, -0.0025407318) (-0.0019591588, -0.0025391581) (-0.0019652571, -0.002536976) (-0.0019711122, -0.0025342068) (-0.0019766676, -0.002530877) (-0.00198187, -0.0025270187) (-0.001986669, -0.002522669) (-0.0019910187, -0.00251787) (-0.001994877, -0.0025126676) (-0.0019982068, -0.0025071122) (-0.002000976, -0.0025012571) (-0.0020031581, -0.0024951588) (-0.0020047318, -0.002488876) (-0.0020056822, -0.0024824691) (-0.002006, -0.002476) (-0.002006, -0.002064) (-0.0020056822, -0.0020575309) (-0.0020047318, -0.002051124), closed, covered)
  Port_Q1_rect_jj = rectangle(corner=(-0.002301, -0.002271, 0), x_size=2e-06, y_size=2e-06)
  voltage_line_Port_Q1_rect_jj = polyline((-0.002301, -0.00227, 0) (-0.002299, -0.00227, 0))
  JJ_rect_Lj_Q1_array_top = rectangle(corner=(-0.002297, -0.002322, 0), x_size=2e-06, y_size=5.1e-05)
  JJ_Lj_Q1_array_top_ = polyline((-0.002296, -0.002322, 0) (-0.002296, -0.002271, 0))
  JJ_rect_Lj_Q1_array_bot = rectangle(corner=(-0.002305, -0.002322, 0), x_size=2e-06, y_size=5.1e-05)
  JJ_Lj_Q1_array_bot_ = polyline((-0.002304, -0.002322, 0) (-0.002304, -0.002271, 0))
  endcap_Q1_charge_line = rectangle(corner=(-0.002716, -0.002281, 0), x_size=6e-06, y_size=2.2e-05)
  endcap_Q1_readout_line = rectangle(corner=(-0.00176, -0.002281, 0), x_size=6e-06, y_size=2.2e-05)
  endcap_Q1_fake_flux_bias_line = rectangle(corner=(-0.002366, -0.002726, 0), x_size=0.000192, y_size=6e-06)
  endcap_Q1_flux_bias_line = rectangle(corner=(-0.002366, -0.0027685, 0), x_size=7.2e-05, y_size=6e-06)
  ground_main_plane = rectangle(corner=(-0.00291, -0.0029625, 0), x_size=0.00135, y_size=0.0013425)
  main [silicon] = box(corner=(-0.00291, -0.0029625, -0.000525), size=(0.00135, 0.0013425, 0.000525))
  sample_holder [vacuum] = box(corner=(-0.00291, -0.0029625, -0.00165), size=(0.00135, 0.0013425, 0.00254))
  ground_main_plane.subtract(endcap_Q1_flux_bias_line, flux_bias_line_gap_Q1, endcap_Q1_fake_flux_bias_line, endcap_Q1_readout_line, rect_pk_Q1, readout_padNline_gap_Q1, endcap_Q1_charge_line, charge_line_gap_Q1)
  Port_Q1_flux_bias_line = rectangle(corner=(-0.00236, -0.0027685, 0), x_size=6e-05, y_size=6e-06)
  voltage_line_Port_Q1_flux_bias_line = polyline((-0.00233, -0.0027625, 0) (-0.00233, -0.0027685, 0))
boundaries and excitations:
  Lj_Lj_Q1_array_top: Lumped RLC Objects=JJ_rect_Lj_Q1_array_top CurrentLine{middle of JJ_rect_Lj_Q1_array_top.edge(y at corner) -> middle of JJ_rect_Lj_Q1_array_top.edge(y opposite corner)} RLC_Type=Parallel Inductance=100nH
  Lj_Lj_Q1_array_bot: Lumped RLC Objects=JJ_rect_Lj_Q1_array_bot CurrentLine{middle of JJ_rect_Lj_Q1_array_bot.edge(y at corner) -> middle of JJ_rect_Lj_Q1_array_bot.edge(y opposite corner)} RLC_Type=Parallel Inductance=100nH
  PerfE: Perfect E Objects=[pad_top_Q1, pad_bot_Q1, array_end_Q1, flux_bias_line_Q1, charge_line_Q1, readout_padNline_Q1, ground_main_plane]
  LumpPort_Q1_rect_jj: Lumped Port Objects=Port_Q1_rect_jj Modes{Mode1{IntLine{middle of Port_Q1_rect_jj.edge(x at corner) -> middle of Port_Q1_rect_jj.edge(x opposite corner)} CharImp=Zpi RenormImp=50ohm}} Impedance=50ohm
  LumpPort_Q1_flux_bias_line: Lumped Port Objects=Port_Q1_flux_bias_line Modes{Mode1{IntLine{middle of Port_Q1_flux_bias_line.edge(y at corner) -> middle of Port_Q1_flux_bias_line.edge(y opposite corner)} CharImp=Zpi RenormImp=50ohm}} Impedance=50ohm
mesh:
  small_mesh: LengthBased Objects=[JJ_rect_Lj_Q1_array_top, JJ_rect_Lj_Q1_array_bot] MaxLength=7um
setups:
  Setup: HfssDriven Frequency=1GHz MaxDeltaS=0.02 MaximumPasses=10 MinimumPasses=1 MinimumConvergedPasses=1 PercentRefinement=30 BasisOrder=-1 PortAccuracy=2
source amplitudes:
  LumpPort_Q1_rect_jj:1: 1W 0deg
  LumpPort_Q1_flux_bias_line:1: 0W 0deg
